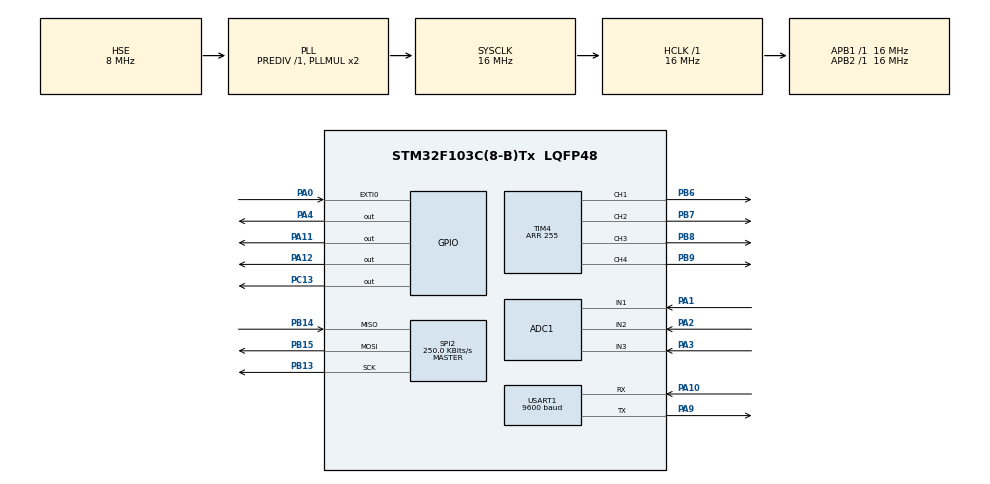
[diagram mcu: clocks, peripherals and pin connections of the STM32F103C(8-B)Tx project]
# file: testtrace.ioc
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ADC1.Channel-0\#ChannelRegularConversion=ADC_CHANNEL_1
ADC1.Channel-1\#ChannelRegularConversion=ADC_CHANNEL_2
ADC1.Channel-10\#ChannelRegularConversion=ADC_CHANNEL_3
ADC1.ContinuousConvMode=DISABLE
ADC1.NbrOfConversion=3
ADC1.NbrOfConversionFlag=1
ADC1.Rank-0\#ChannelRegularConversion=1
ADC1.Rank-1\#ChannelRegularConversion=2
ADC1.Rank-10\#ChannelRegularConversion=3
ADC1.SamplingTime-0\#ChannelRegularConversion=ADC_SAMPLETIME_28CYCLES_5
ADC1.SamplingTime-1\#ChannelRegularConversion=ADC_SAMPLETIME_28CYCLES_5
ADC1.SamplingTime-10\#ChannelRegularConversion=ADC_SAMPLETIME_28CYCLES_5
ADC1.master=1
Dma.ADC1.0.Direction=DMA_PERIPH_TO_MEMORY
Dma.ADC1.0.Instance=DMA1_Channel1
Dma.ADC1.0.MemDataAlignment=DMA_MDATAALIGN_WORD
Dma.ADC1.0.MemInc=DMA_MINC_ENABLE
Dma.ADC1.0.Mode=DMA_CIRCULAR
Dma.ADC1.0.PeriphDataAlignment=DMA_PDATAALIGN_WORD
Dma.ADC1.0.PeriphInc=DMA_PINC_DISABLE
Dma.ADC1.0.Priority=DMA_PRIORITY_MEDIUM
Dma.Request0=ADC1
Mcu.Family=STM32F1
Mcu.Name=STM32F103C(8-B)Tx
Mcu.Package=LQFP48
NVIC.ADC1_2_IRQn=true\:2\:0\:true\:false\:true\:true\:true
NVIC.DMA1_Channel1_IRQn=true\:0\:0\:false\:false\:true\:false\:true
NVIC.EXTI0_IRQn=true\:1\:0\:true\:false\:true\:true\:true
NVIC.PriorityGroup=NVIC_PRIORITYGROUP_4
NVIC.TIM4_IRQn=true\:2\:0\:true\:false\:true\:true\:true
NVIC.USART1_IRQn=true\:2\:0\:true\:false\:true\:true\:true
PA0-WKUP.Signal=GPXTI0
PA1.Signal=ADCx_IN1
PA10.Mode=Asynchronous
PA10.Signal=USART1_RX
PA11.Signal=GPIO_Output
PA12.Signal=GPIO_Output
PA13.Mode=Trace_Asynchronous_SW
PA13.Signal=SYS_JTMS-SWDIO
PA14.Mode=Trace_Asynchronous_SW
PA14.Signal=SYS_JTCK-SWCLK
PA2.Signal=ADCx_IN2
PA3.Signal=ADCx_IN3
PA4.Signal=GPIO_Output
PA9.Mode=Asynchronous
PA9.Signal=USART1_TX
PB13.Mode=Full_Duplex_Master
PB13.Signal=SPI2_SCK
PB14.Mode=Full_Duplex_Master
PB14.Signal=SPI2_MISO
PB15.Mode=Full_Duplex_Master
PB15.Signal=SPI2_MOSI
PB3.Mode=Trace_Asynchronous_SW
PB3.Signal=SYS_JTDO-TRACESWO
PB6.GPIO_Speed=GPIO_SPEED_FREQ_HIGH
PB6.Signal=S_TIM4_CH1
PB7.GPIO_Speed=GPIO_SPEED_FREQ_HIGH
PB7.Signal=S_TIM4_CH2
PB8.GPIO_Speed=GPIO_SPEED_FREQ_HIGH
PB8.Signal=S_TIM4_CH3
PB9.GPIO_Speed=GPIO_SPEED_FREQ_HIGH
PB9.Signal=S_TIM4_CH4
PC13-TAMPER-RTC.Signal=GPIO_Output
PD0-OSC_IN.Mode=HSE-External-Oscillator
PD0-OSC_IN.Signal=RCC_OSC_IN
PD1-OSC_OUT.Mode=HSE-External-Oscillator
PD1-OSC_OUT.Signal=RCC_OSC_OUT
ProjectManager.HeapSize=0x200
ProjectManager.StackSize=0x400
ProjectManager.TargetToolchain=MDK-ARM V5
RCC.AHBFreq_Value=16000000
RCC.APB1Freq_Value=16000000
RCC.APB1TimFreq_Value=16000000
RCC.APB2Freq_Value=16000000
RCC.APB2TimFreq_Value=16000000
RCC.HCLKFreq_Value=16000000
RCC.PLLSourceVirtual=RCC_PLLSOURCE_HSE
RCC.SYSCLKFreq_VALUE=16000000
RCC.SYSCLKSource=RCC_SYSCLKSOURCE_PLLCLK
RCC.USBFreq_Value=16000000
SH.ADCx_IN1.0=ADC1_IN1,IN1
SH.ADCx_IN2.0=ADC1_IN2,IN2
SH.ADCx_IN3.0=ADC1_IN3,IN3
SH.S_TIM4_CH1.0=TIM4_CH1,PWM Generation1 CH1
SH.S_TIM4_CH2.0=TIM4_CH2,PWM Generation2 CH2
SH.S_TIM4_CH3.0=TIM4_CH3,PWM Generation3 CH3
SH.S_TIM4_CH4.0=TIM4_CH4,PWM Generation4 CH4
SPI2.BaudRatePrescaler=SPI_BAUDRATEPRESCALER_64
SPI2.CalculateBaudRate=250.0 KBits/s
SPI2.Direction=SPI_DIRECTION_2LINES
SPI2.Mode=SPI_MODE_MASTER
SPI2.VirtualType=VM_MASTER
TIM4.Channel-PWM\ Generation1\ CH1=TIM_CHANNEL_1
TIM4.Channel-PWM\ Generation2\ CH2=TIM_CHANNEL_2
TIM4.Channel-PWM\ Generation3\ CH3=TIM_CHANNEL_3
TIM4.Channel-PWM\ Generation4\ CH4=TIM_CHANNEL_4
TIM4.Period=255
USART1.BaudRate=9600
USART1.VirtualMode=VM_ASYNC
VP_TIM4_VS_ClockSourceINT.Mode=Internal
board=custom

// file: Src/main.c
/* USER CODE BEGIN Header */
/**
  ******************************************************************************
  * @file           : main.c
  * @brief          : Main program body
  ******************************************************************************
  * @attention
  *
  * <h2><center>&copy; Copyright (c) 2019 STMicroelectronics.
  * All rights reserved.</center></h2>
  *
  * This software component is licensed by ST under BSD 3-Clause license,
  * the "License"; You may not use this file except in compliance with the
  * License. You may obtain a copy of the License at:
  *                        opensource.org/licenses/BSD-3-Clause
  *
  ******************************************************************************
  */
/* USER CODE END Header */

#include "main.h"
#include "rc522.h"

#include "rc522test.h"

//#include "MFRC522.h"
/* USER CODE BEGIN Includes */
#ifdef __GNUC__
/* With GCC/RAISONANCE, small printf (option LD Linker->Libraries->Small printf
   set to 'Yes') calls __io_putchar() */
#define PUTCHAR_PROTOTYPE int __io_putchar(int ch)
#else
#define PUTCHAR_PROTOTYPE int fputc(int ch, FILE *f)
#endif /* __GNUC__ */
#include <stdbool.h>

/* USER CODE END Includes */

/* USER CODE BEGIN PTD */
#include "MotorLib.h"
#include "RgbLedLib.h"
#define	uchar	unsigned char
#define	uint	unsigned int
/* USER CODE END PTD */

/* USER CODE BEGIN PD */
//#define MODULE_MOTOR
//#define MODULE_RGBLED
//#define MODULE_JOYSTICK
/* USER CODE END PD */

/* USER CODE BEGIN PM */
uint8_t data[]="HELLO WORLD\n"; // transmit
uint8_t t=10;
// variable RFID
uint8_t dataUDP_permit[]="Ma the hop le ";
uint8_t dataUDP_deny[]="Ma the khong hop le ";
unsigned char CardID[5];
unsigned char MyID[5] = {0x6A, 0x08, 0xE7, 0xAB, 0x2E};	//My card on my keys

uint8_t MFRC522_Check(uint8_t* id);
uint8_t MFRC522_Compare(uint8_t* CardID, uint8_t* CompareID);
void MFRC522_WriteRegister(uint8_t addr, uint8_t val);
uint8_t MFRC522_ReadRegister(uint8_t addr);
void MFRC522_SetBitMask(uint8_t reg, uint8_t mask);
void MFRC522_ClearBitMask(uint8_t reg, uint8_t mask);
uint8_t MFRC522_Request(uint8_t reqMode, uint8_t* TagType);
uint8_t MFRC522_ToCard(uint8_t command, uint8_t* sendData, uint8_t sendLen, uint8_t* backData, uint16_t* backLen);
uint8_t MFRC522_Anticoll(uint8_t* serNum);
void MFRC522_CalulateCRC(uint8_t* pIndata, uint8_t len, uint8_t* pOutData);
uint8_t MFRC522_SelectTag(uint8_t* serNum);
uint8_t MFRC522_Auth(uint8_t authMode, uint8_t BlockAddr, uint8_t* Sectorkey, uint8_t* serNum);
uint8_t MFRC522_Read(uint8_t blockAddr, uint8_t* recvData);
uint8_t MFRC522_Write(uint8_t blockAddr, uint8_t* writeData);
void MFRC522_Init(void);
void MFRC522_Reset(void);
void MFRC522_AntennaOn(void);
void MFRC522_AntennaOff(void);
void MFRC522_Halt(void);

/* USER CODE END PM */

ADC_HandleTypeDef hadc1;
DMA_HandleTypeDef hdma_adc1;

SPI_HandleTypeDef hspi2;

TIM_HandleTypeDef htim4;

UART_HandleTypeDef huart1;

/* USER CODE BEGIN PV */
uint32_t ADC_BUF[3];
bool  AdcRequesStart=false;
/* USER CODE END PV */

void SystemClock_Config(void);
static void MX_GPIO_Init(void);
static void MX_DMA_Init(void);
static void MX_USART1_UART_Init(void);
static void MX_ADC1_Init(void);
static void MX_TIM4_Init(void);
static void MX_SPI2_Init(void);
/* USER CODE BEGIN PFP */
uint16_t j=0;
 char *str;
uint32_t id2[3]={0};
      uint32_t i,d;
uint8_t datatest[16]={11};
 uint8_t datatest2[20]={50};

/* USER CODE END PFP */

/* USER CODE BEGIN 0 */

void HAL_ADC_ConvCpltCallback(ADC_HandleTypeDef* hadc){
uint32_t val[3];

	val[0]=ADC_BUF[0];
	val[1]=ADC_BUF[1];
	val[2]=ADC_BUF[2];

	printf("%d:Bt=%d Y=%d X=%d \r\n",j, val[0],val[1],val[2]);

		MoveByJoystick(ADC_BUF[1]);

}

PUTCHAR_PROTOTYPE
{
  /* Place your implementation of fputc here */
  /* e.g. write a character to the USART1 and Loop until the end of transmission */
  HAL_UART_Transmit(&huart1, (uint8_t *)&ch, 1, 0xFFFF);

  return ch;
}

/* USER CODE END 0 */

int main(void)
{

  /* MCU Configuration--------------------------------------------------------*/

  /* Reset of all peripherals, Initializes the Flash interface and the Systick. */
  HAL_Init();

  /* Configure the system clock */
  SystemClock_Config();

  /* Initialize all configured peripherals */
  MX_GPIO_Init();
  MX_DMA_Init();
  MX_USART1_UART_Init();
  MX_ADC1_Init();
  MX_TIM4_Init();
  MX_SPI2_Init();
  /* USER CODE BEGIN 2 */
	MFRC522_Init();
		printf("Waiting for RFID Card...!\n\r");
	HAL_Delay(1000);

		  HAL_NVIC_DisableIRQ(EXTI0_IRQn);
  /* USER CODE BEGIN EXTI0_IRQn 0 */
	/*
if (__HAL_PWR_GET_FLAG(PWR_FLAG_SB) == SET)
{

printf("Wakeup");
	//HAL_PWR_EnableBkUpAccess();
__HAL_PWR_CLEAR_FLAG(PWR_FLAG_SB);

}
*/

__HAL_UART_ENABLE_IT(&huart1, UART_IT_RXNE);

#ifdef MODULE_JOYSTICK
				HAL_ADC_Start_DMA(&hadc1,(uint32_t*)ADC_BUF,3);
				HAL_ADC_Start_IT(&hadc1);

#endif

HAL_Delay(3000);

#ifdef MODULE_MOTOR

        HAL_TIM_PWM_Start(&htim4, TIM_CHANNEL_4);
#endif

#ifdef MODULE_RGBLED
        HAL_TIM_PWM_Start(&htim4, TIM_CHANNEL_1);
        HAL_TIM_PWM_Start(&htim4, TIM_CHANNEL_2);
        HAL_TIM_PWM_Start(&htim4, TIM_CHANNEL_3);

#endif

  /* USER CODE END 2 */

  /* Infinite loop */
  /* USER CODE BEGIN WHILE */

char status;
    unsigned char snr, buf[16], TagType[2], SelectedSnr[4], DefaultKey[6] = {0xFF, 0xFF, 0xFF, 0xFF, 0xFF, 0xFF};

  while (1)
  {

		if (MFRC522_Check(CardID) == MI_OK)
			{

				printf( "[%02x-%02x-%02x-%02x-%02x] \r\n", CardID[0], CardID[1], CardID[2], CardID[3], CardID[4]);

				if(MFRC522_Auth(PICC_AUTHENT1A,7,DefaultKey,CardID))
					printf("OK AU1!\r\n");

				if(MFRC522_Read(4,datatest))
					printf("OK READ!\r\n");
							printf("%d %d %d %d %d %d %d %d %d %d %d %d %d %d %d %d \r\n",datatest[0],datatest[1],datatest[2],datatest[3],datatest[4],datatest[5],datatest[6],datatest[7],datatest[8],datatest[9],datatest[10],
					datatest[11],datatest[12],datatest[13],datatest[14],datatest[15]);

								if(MFRC522_Auth(PICC_AUTHENT1B,7,DefaultKey,CardID))
					printf("OK AU2!\r\n");

				if(MFRC522_Write(4,datatest2))
					printf("OK WRITE !\r\n");

			 printf("read finish!\r\n");
		HAL_Delay(2000);

							MFRC522_Read(4,datatest2);
							printf("%d %d %d %d %d %d %d %d %d %d %d %d %d %d %d %d \r\n",datatest[0],datatest[1],datatest[2],datatest[3],datatest[4],datatest[5],datatest[6],datatest[7],datatest[8],datatest[9],datatest[10],
					datatest[11],datatest[12],datatest[13],datatest[14],datatest[15]);
								MFRC522_Read(4,datatest);
							printf("%d %d %d %d %d %d %d %d %d %d %d %d %d %d %d %d \r\n",datatest[0],datatest[1],datatest[2],datatest[3],datatest[4],datatest[5],datatest[6],datatest[7],datatest[8],datatest[9],datatest[10],
					datatest[11],datatest[12],datatest[13],datatest[14],datatest[15]);
								MFRC522_Read(4,datatest);
							printf("%d %d %d %d %d %d %d %d %d %d %d %d %d %d %d %d \r\n",datatest[0],datatest[1],datatest[2],datatest[3],datatest[4],datatest[5],datatest[6],datatest[7],datatest[8],datatest[9],datatest[10],
					datatest[11],datatest[12],datatest[13],datatest[14],datatest[15]);

				}

		  HAL_Delay(10);

#ifdef MODULE_RGBLED

		for(uint16_t l=0;l<=255;l++){ TIM4->CCR1=255; TIM4->CCR2= 0; TIM4->CCR3=l;	HAL_Delay(50);}//255 0 .255
		for(uint16_t l=255;l!=0;l--){ TIM4->CCR1=l; TIM4->CCR2= 0; TIM4->CCR3=255;	HAL_Delay(5);}// .0 0 255
		for(uint16_t l=0;l<=255;l++){ TIM4->CCR1=0; TIM4->CCR2= l; TIM4->CCR3=255;	HAL_Delay(5);}// 0 .255 255
		for(uint16_t l=255;l!=0;l--){ TIM4->CCR1=0; TIM4->CCR2= 255; TIM4->CCR3=l;	HAL_Delay(5);}// 0 255 .0
		for(uint16_t l=0;l<=255;l++){ TIM4->CCR1=l; TIM4->CCR2= 255; TIM4->CCR3=0;	HAL_Delay(5);}// .255 255 0
		for(uint16_t l=255;l!=0;l--){ TIM4->CCR1=255; TIM4->CCR2= l; TIM4->CCR3=0;	HAL_Delay(5);}//255 .0 0

#endif

#ifdef MODULE_JOYSTICK
				if(AdcRequesStart==true && j<=1000){
		HAL_ADC_Start_IT(&hadc1);
		j++;
		}
		else{
			j=0;
			AdcRequesStart=false;

			HAL_ADC_Stop(&hadc1);
			MoveByJoystick(_JoystickZero);
		}
	#endif

		 HAL_Delay(2000);

    /* USER CODE END WHILE */

  }
}

void SystemClock_Config(void)
{
  RCC_OscInitTypeDef RCC_OscInitStruct = {0};
  RCC_ClkInitTypeDef RCC_ClkInitStruct = {0};
  RCC_PeriphCLKInitTypeDef PeriphClkInit = {0};

  /** Initializes the CPU, AHB and APB busses clocks
  */
  RCC_OscInitStruct.OscillatorType = RCC_OSCILLATORTYPE_HSE;
  RCC_OscInitStruct.HSEState = RCC_HSE_ON;
  RCC_OscInitStruct.HSEPredivValue = RCC_HSE_PREDIV_DIV1;
  RCC_OscInitStruct.HSIState = RCC_HSI_ON;
  RCC_OscInitStruct.PLL.PLLState = RCC_PLL_ON;
  RCC_OscInitStruct.PLL.PLLSource = RCC_PLLSOURCE_HSE;
  RCC_OscInitStruct.PLL.PLLMUL = RCC_PLL_MUL2;
  if (HAL_RCC_OscConfig(&RCC_OscInitStruct) != HAL_OK)
  {
    Error_Handler();
  }
  /** Initializes the CPU, AHB and APB busses clocks
  */
  RCC_ClkInitStruct.ClockType = RCC_CLOCKTYPE_HCLK|RCC_CLOCKTYPE_SYSCLK
                              |RCC_CLOCKTYPE_PCLK1|RCC_CLOCKTYPE_PCLK2;
  RCC_ClkInitStruct.SYSCLKSource = RCC_SYSCLKSOURCE_PLLCLK;
  RCC_ClkInitStruct.AHBCLKDivider = RCC_SYSCLK_DIV1;
  RCC_ClkInitStruct.APB1CLKDivider = RCC_HCLK_DIV1;
  RCC_ClkInitStruct.APB2CLKDivider = RCC_HCLK_DIV1;

  if (HAL_RCC_ClockConfig(&RCC_ClkInitStruct, FLASH_LATENCY_0) != HAL_OK)
  {
    Error_Handler();
  }
  PeriphClkInit.PeriphClockSelection = RCC_PERIPHCLK_ADC;
  PeriphClkInit.AdcClockSelection = RCC_ADCPCLK2_DIV2;
  if (HAL_RCCEx_PeriphCLKConfig(&PeriphClkInit) != HAL_OK)
  {
    Error_Handler();
  }
}

static void MX_ADC1_Init(void)
{

  ADC_ChannelConfTypeDef sConfig = {0};

  /** Common config
  */
  hadc1.Instance = ADC1;
  hadc1.Init.ScanConvMode = ADC_SCAN_ENABLE;
  hadc1.Init.ContinuousConvMode = DISABLE;
  hadc1.Init.DiscontinuousConvMode = DISABLE;
  hadc1.Init.ExternalTrigConv = ADC_SOFTWARE_START;
  hadc1.Init.DataAlign = ADC_DATAALIGN_RIGHT;
  hadc1.Init.NbrOfConversion = 3;
  if (HAL_ADC_Init(&hadc1) != HAL_OK)
  {
    Error_Handler();
  }
  /** Configure Regular Channel
  */
  sConfig.Channel = ADC_CHANNEL_1;
  sConfig.Rank = ADC_REGULAR_RANK_1;
  sConfig.SamplingTime = ADC_SAMPLETIME_28CYCLES_5;
  if (HAL_ADC_ConfigChannel(&hadc1, &sConfig) != HAL_OK)
  {
    Error_Handler();
  }
  /** Configure Regular Channel
  */
  sConfig.Channel = ADC_CHANNEL_2;
  sConfig.Rank = ADC_REGULAR_RANK_2;
  if (HAL_ADC_ConfigChannel(&hadc1, &sConfig) != HAL_OK)
  {
    Error_Handler();
  }
  /** Configure Regular Channel
  */
  sConfig.Channel = ADC_CHANNEL_3;
  sConfig.Rank = ADC_REGULAR_RANK_3;
  if (HAL_ADC_ConfigChannel(&hadc1, &sConfig) != HAL_OK)
  {
    Error_Handler();
  }

}

static void MX_SPI2_Init(void)
{

  /* SPI2 parameter configuration*/
  hspi2.Instance = SPI2;
  hspi2.Init.Mode = SPI_MODE_MASTER;
  hspi2.Init.Direction = SPI_DIRECTION_2LINES;
  hspi2.Init.DataSize = SPI_DATASIZE_8BIT;
  hspi2.Init.CLKPolarity = SPI_POLARITY_LOW;
  hspi2.Init.CLKPhase = SPI_PHASE_1EDGE;
  hspi2.Init.NSS = SPI_NSS_SOFT;
  hspi2.Init.BaudRatePrescaler = SPI_BAUDRATEPRESCALER_64;
  hspi2.Init.FirstBit = SPI_FIRSTBIT_MSB;
  hspi2.Init.TIMode = SPI_TIMODE_DISABLE;
  hspi2.Init.CRCCalculation = SPI_CRCCALCULATION_DISABLE;
  hspi2.Init.CRCPolynomial = 10;
  if (HAL_SPI_Init(&hspi2) != HAL_OK)
  {
    Error_Handler();
  }

}

static void MX_TIM4_Init(void)
{

  TIM_ClockConfigTypeDef sClockSourceConfig = {0};
  TIM_MasterConfigTypeDef sMasterConfig = {0};
  TIM_OC_InitTypeDef sConfigOC = {0};

  htim4.Instance = TIM4;
  htim4.Init.Prescaler = 0;
  htim4.Init.CounterMode = TIM_COUNTERMODE_UP;
  htim4.Init.Period = 255;
  htim4.Init.ClockDivision = TIM_CLOCKDIVISION_DIV1;
  htim4.Init.AutoReloadPreload = TIM_AUTORELOAD_PRELOAD_DISABLE;
  if (HAL_TIM_Base_Init(&htim4) != HAL_OK)
  {
    Error_Handler();
  }
  sClockSourceConfig.ClockSource = TIM_CLOCKSOURCE_INTERNAL;
  if (HAL_TIM_ConfigClockSource(&htim4, &sClockSourceConfig) != HAL_OK)
  {
    Error_Handler();
  }
  if (HAL_TIM_PWM_Init(&htim4) != HAL_OK)
  {
    Error_Handler();
  }
  sMasterConfig.MasterOutputTrigger = TIM_TRGO_RESET;
  sMasterConfig.MasterSlaveMode = TIM_MASTERSLAVEMODE_DISABLE;
  if (HAL_TIMEx_MasterConfigSynchronization(&htim4, &sMasterConfig) != HAL_OK)
  {
    Error_Handler();
  }
  sConfigOC.OCMode = TIM_OCMODE_PWM1;
  sConfigOC.Pulse = 0;
  sConfigOC.OCPolarity = TIM_OCPOLARITY_HIGH;
  sConfigOC.OCFastMode = TIM_OCFAST_DISABLE;
  if (HAL_TIM_PWM_ConfigChannel(&htim4, &sConfigOC, TIM_CHANNEL_1) != HAL_OK)
  {
    Error_Handler();
  }
  if (HAL_TIM_PWM_ConfigChannel(&htim4, &sConfigOC, TIM_CHANNEL_2) != HAL_OK)
  {
    Error_Handler();
  }
  if (HAL_TIM_PWM_ConfigChannel(&htim4, &sConfigOC, TIM_CHANNEL_3) != HAL_OK)
  {
    Error_Handler();
  }
  if (HAL_TIM_PWM_ConfigChannel(&htim4, &sConfigOC, TIM_CHANNEL_4) != HAL_OK)
  {
    Error_Handler();
  }
  HAL_TIM_MspPostInit(&htim4);

}

static void MX_USART1_UART_Init(void)
{

  huart1.Instance = USART1;
  huart1.Init.BaudRate = 9600;
  huart1.Init.WordLength = UART_WORDLENGTH_8B;
  huart1.Init.StopBits = UART_STOPBITS_1;
  huart1.Init.Parity = UART_PARITY_NONE;
  huart1.Init.Mode = UART_MODE_TX_RX;
  huart1.Init.HwFlowCtl = UART_HWCONTROL_NONE;
  huart1.Init.OverSampling = UART_OVERSAMPLING_16;
  if (HAL_UART_Init(&huart1) != HAL_OK)
  {
    Error_Handler();
  }

}

static void MX_DMA_Init(void)
{
  /* DMA controller clock enable */
  __HAL_RCC_DMA1_CLK_ENABLE();

  /* DMA interrupt init */
  /* DMA1_Channel1_IRQn interrupt configuration */
  HAL_NVIC_SetPriority(DMA1_Channel1_IRQn, 0, 0);
  HAL_NVIC_EnableIRQ(DMA1_Channel1_IRQn);

}

static void MX_GPIO_Init(void)
{
  GPIO_InitTypeDef GPIO_InitStruct = {0};

  /* GPIO Ports Clock Enable */
  __HAL_RCC_GPIOC_CLK_ENABLE();
  __HAL_RCC_GPIOD_CLK_ENABLE();
  __HAL_RCC_GPIOA_CLK_ENABLE();
  __HAL_RCC_GPIOB_CLK_ENABLE();

  /*Configure GPIO pin Output Level */
  HAL_GPIO_WritePin(GPIOC, GPIO_PIN_13, GPIO_PIN_RESET);

  /*Configure GPIO pin Output Level */
  HAL_GPIO_WritePin(GPIOA, GPIO_PIN_4|GPIO_PIN_11|GPIO_PIN_12, GPIO_PIN_RESET);

  /*Configure GPIO pin : PC13 */
  GPIO_InitStruct.Pin = GPIO_PIN_13;
  GPIO_InitStruct.Mode = GPIO_MODE_OUTPUT_PP;
  GPIO_InitStruct.Pull = GPIO_NOPULL;
  GPIO_InitStruct.Speed = GPIO_SPEED_FREQ_LOW;
  HAL_GPIO_Init(GPIOC, &GPIO_InitStruct);

  /*Configure GPIO pin : PA0 */
  GPIO_InitStruct.Pin = GPIO_PIN_0;
  GPIO_InitStruct.Mode = GPIO_MODE_IT_RISING;
  GPIO_InitStruct.Pull = GPIO_NOPULL;
  HAL_GPIO_Init(GPIOA, &GPIO_InitStruct);

  /*Configure GPIO pins : PA4 PA11 PA12 */
  GPIO_InitStruct.Pin = GPIO_PIN_4|GPIO_PIN_11|GPIO_PIN_12;
  GPIO_InitStruct.Mode = GPIO_MODE_OUTPUT_PP;
  GPIO_InitStruct.Pull = GPIO_NOPULL;
  GPIO_InitStruct.Speed = GPIO_SPEED_FREQ_LOW;
  HAL_GPIO_Init(GPIOA, &GPIO_InitStruct);

  /* EXTI interrupt init*/
  HAL_NVIC_SetPriority(EXTI0_IRQn, 1, 0);
  HAL_NVIC_EnableIRQ(EXTI0_IRQn);

}

void Error_Handler(void)
{
}

/************************ (C) COPYRIGHT STMicroelectronics *****END OF FILE****/
